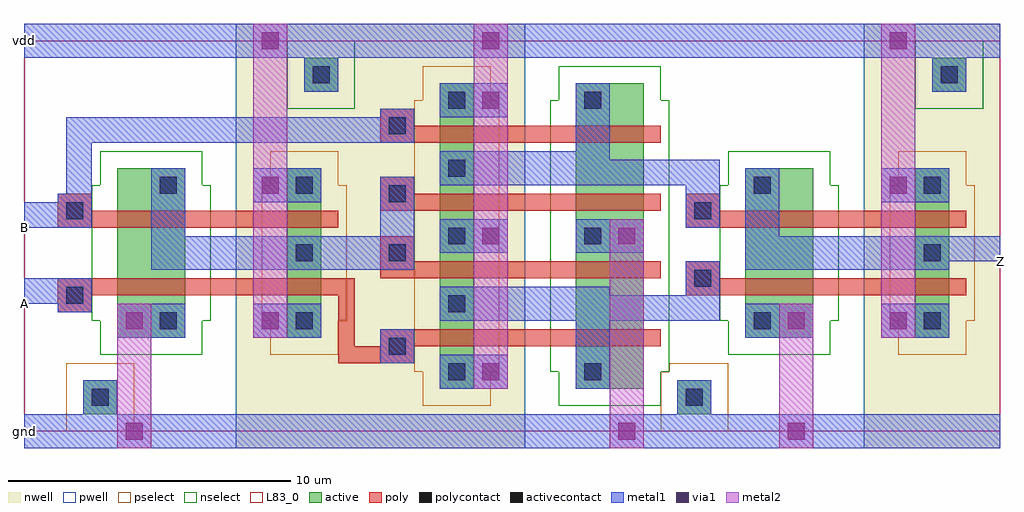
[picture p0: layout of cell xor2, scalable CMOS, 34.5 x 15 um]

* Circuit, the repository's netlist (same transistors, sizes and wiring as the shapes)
.SUBCKT xor2 A B Z vdd gnd
M1 gnd A net1 gnd n l=0.6u w=2.4u
M2 net1 B Z1 gnd n l=0.6u w=2.4u
M3 vdd A Z1 vdd p l=0.6u w=1.2u
M4 Z1 B vdd vdd p l=0.6u w=1.2u
M5 gnd Z1 net2 gnd n l=0.6u w=2.4u
M6 net2 B Z2 gnd n l=0.6u w=2.4u
M7 vdd Z1 Z2 vdd p l=0.6u w=1.2u
M8 Z2 B vdd vdd p l=0.6u w=1.2u
M9 gnd Z1 net3 gnd n l=0.6u w=2.4u
M10 net3 A Z3 gnd n l=0.6u w=2.4u
M11 vdd Z1 Z3 vdd p l=0.6u w=1.2u
M12 Z3 A vdd vdd p l=0.6u w=1.2u
M13 gnd Z3 net4 gnd n l=0.6u w=2.4u
M14 net4 Z2 Z gnd n l=0.6u w=2.4u
M15 vdd Z2 Z vdd p l=0.6u w=1.2u
M16 Z Z3 vdd vdd p l=0.6u w=1.2u
.ENDS xor2

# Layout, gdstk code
import gdstk
lib = gdstk.Library(unit=1e-6, precision=1e-09)
def R(c, l, rs):  # rectangles x0, y0, x1, y1
    for r in rs: c.add(gdstk.rectangle(r[:2], r[2:], *l))
def A(c, l, x, y, w, h, nx, ny, dx, dy):  # array of equal rectangles
    R(c, l, [(x+i*dx, y+j*dy, x+i*dx+w, y+j*dy+h) for i in range(nx) for j in range(ny)])
pwell = (41, 0)
nwell = (42, 0)
active = (43, 0)
pselect = (44, 0)
nselect = (45, 0)
poly = (46, 0)
polycontact = (47, 0)
activecontact = (48, 0)
metal1 = (49, 0)
via1 = (50, 0)
metal2 = (51, 0)
L83_0 = (83, 0)

xor2 = lib.new_cell('xor2')
R(xor2, pwell, [(0,-0.6,7.5,14.4), (17.7,-0.6,29.7,14.4)])
R(xor2, nwell, [(7.5,-0.6,17.7,14.4), (29.7,-0.6,34.5,14.4)])
R(xor2, active, [(2.1,0.6,3.3,1.8), (23.1,0.6,24.3,1.8), (14.7,1.5,15.9,12.3), (19.5,1.5,21.9,12.3), (3.3,3.3,5.7,9.3), (9.3,3.3,10.5,9.3), (25.5,3.3,27.9,9.3), (31.5,3.3,32.7,9.3), (9.9,12,11.1,13.2), (32.1,12,33.3,13.2)])
R(xor2, pselect, [(1.5,0,3.9,2.4), (22.5,0,24.9,2.1), (14.1,0.9,16.5,2.1), (13.8,2.1,16.8,11.7), (22.8,2.1,24.9,2.4), (8.7,2.7,11.1,3.9), (30.9,2.7,33.3,3.9), (8.4,3.9,11.4,8.7), (30.6,3.9,33.6,8.7), (8.7,8.7,11.1,9.9), (30.9,8.7,33.3,9.9), (14.1,11.7,16.5,12.9)])
R(xor2, nselect, [(18.9,0.9,22.5,2.1), (18.6,2.1,22.8,11.7), (2.7,2.7,6.3,3.9), (24.9,2.7,28.5,3.9), (2.4,3.9,6.6,8.7), (24.6,3.9,28.8,8.7), (2.7,8.7,6.3,9.9), (24.9,8.7,28.5,9.9), (9.3,11.4,11.7,13.8), (31.5,11.4,33.9,13.8), (18.9,11.7,22.5,12.9)])
A(xor2, poly, 12.6, 3, 9.9, 0.6, 1, 4, 0, 2.4)
R(xor2, poly, [(11.1,2.4,13.8,3), (11.1,3,11.7,4.8), (1.2,4.2,2.4,4.8), (1.2,4.8,11.7,5.4), (23.4,4.8,33.3,5.4), (23.4,5.4,24.6,6), (12.6,6,13.8,6.9), (1.2,7.2,11.1,7.8), (23.4,7.2,33.3,7.8), (1.2,7.8,2.4,8.4), (23.4,7.8,24.6,8.4), (12.6,8.4,13.8,9), (12.6,10.8,13.8,11.4)])
R(xor2, polycontact, [(12.9,2.7,13.5,3.3), (1.5,4.5,2.1,5.1), (23.7,5.1,24.3,5.7), (12.9,6,13.5,6.6), (1.5,7.5,2.1,8.1), (23.7,7.5,24.3,8.1), (12.9,8.1,13.5,8.7), (12.9,10.5,13.5,11.1)])
A(xor2, activecontact, 15, 1.8, 0.6, 0.6, 1, 5, 0, 2.4)
A(xor2, activecontact, 19.8, 1.8, 0.6, 0.6, 1, 3, 0, 4.8)
A(xor2, activecontact, 9.6, 3.6, 0.6, 0.6, 1, 3, 0, 2.4)
A(xor2, activecontact, 31.8, 3.6, 0.6, 0.6, 1, 3, 0, 2.4)
R(xor2, activecontact, [(2.4,0.9,3,1.5), (23.4,0.9,24,1.5), (4.8,3.6,5.4,4.2), (25.8,3.6,26.4,4.2), (4.8,8.4,5.4,9), (25.8,8.4,26.4,9), (10.2,12.3,10.8,12.9), (32.4,12.3,33,12.9)])
A(xor2, metal1, 14.7, 1.5, 2.4, 1.2, 1, 3, 0, 4.8)
R(xor2, metal1, [(0,-0.6,34.5,0.6), (2.1,0.6,3.3,1.8), (23.1,0.6,24.3,1.8), (19.5,1.5,20.7,3.9), (12.6,2.4,13.8,3.6), (3.3,3.3,5.7,4.5), (8.1,3.3,10.5,4.5), (25.5,3.3,27.9,4.5), (30.3,3.3,32.7,4.5), (14.7,3.9,24.6,4.8), (1.2,4.2,2.4,4.5), (0,4.5,2.4,5.4), (14.7,4.8,20.7,5.1), (23.4,4.8,24.6,6), (4.5,5.7,13.8,6.9), (25.5,5.7,32.7,6), (25.5,6,34.5,6.9), (19.5,6.3,21.9,7.5), (4.5,6.9,5.7,9.3), (12.6,6.9,13.8,9), (25.5,6.9,26.7,9.3), (0,7.2,2.4,8.1), (23.4,7.2,24.6,8.7), (1.2,8.1,2.4,8.4), (8.1,8.1,10.5,9.3), (30.3,8.1,32.7,9.3), (1.5,8.4,2.4,10.2), (14.7,8.7,24.6,9.6), (14.7,9.6,20.7,9.9), (19.5,9.9,20.7,12.3), (1.5,10.2,13.8,11.1), (12.6,11.1,13.8,11.4), (9.9,12,11.1,13.2), (32.1,12,33.3,13.2), (0,13.2,34.5,14.4)])
A(xor2, via1, 16.2, 1.8, 0.6, 0.6, 1, 3, 0, 4.8)
R(xor2, via1, [(3.6,-0.3,4.2,0.3), (21,-0.3,21.6,0.3), (27,-0.3,27.6,0.3), (3.6,3.6,4.2,4.2), (8.4,3.6,9,4.2), (27,3.6,27.6,4.2), (30.6,3.6,31.2,4.2), (21,6.6,21.6,7.2), (8.4,8.4,9,9), (30.6,8.4,31.2,9), (8.4,13.5,9,14.1), (16.2,13.5,16.8,14.1), (30.6,13.5,31.2,14.1)])
R(xor2, metal2, [(3.3,-0.6,4.5,4.5), (20.7,-0.6,21.9,7.5), (26.7,-0.6,27.9,4.5), (15.9,1.5,17.1,14.4), (8.1,3.3,9.3,14.4), (30.3,3.3,31.5,14.4)])
R(xor2, L83_0, [(0,0,34.5,13.8)])
xor2.add(gdstk.Label('Z', (34.5,6), layer=49, texttype=0))
xor2.add(gdstk.Label('gnd', (0,0), layer=49, texttype=0))
xor2.add(gdstk.Label('vdd', (0,13.8), layer=49, texttype=0))
xor2.add(gdstk.Label('B', (0,7.2), layer=49, texttype=0))
xor2.add(gdstk.Label('A', (0,4.5), layer=49, texttype=0))

lib.write_gds('xor2.gds')
